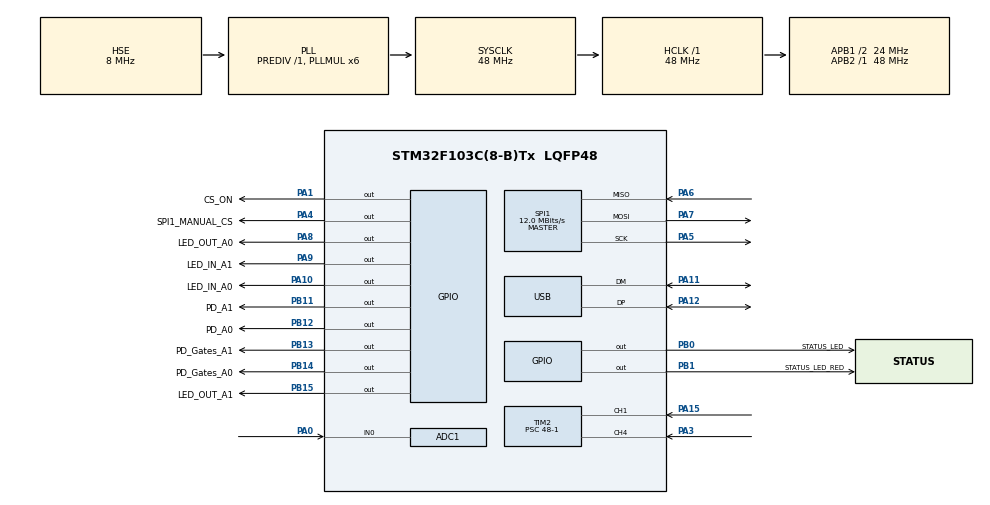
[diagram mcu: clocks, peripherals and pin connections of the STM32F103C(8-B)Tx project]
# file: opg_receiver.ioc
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Mcu.Family=STM32F1
NVIC.ADC1_2_IRQn=true\:0\:0\:false\:false\:true\:true\:true
PA6.Mode=Full_Duplex_Master
USB_DEVICE.CLASS_NAME_FS=CDC
TIM2.Channel-Input_Capture1_from_TI1=TIM_CHANNEL_1
SPI1.VirtualType=VM_MASTER
PB14.GPIO_Label=PD_Gates_A0
PA11.Mode=Device
PB0.GPIO_Label=STATUS_LED
PB13.GPIO_Label=PD_Gates_A1
PB11.Signal=GPIO_Output
PB13.Signal=GPIO_Output
PB15.Signal=GPIO_Output
RCC.SYSCLKSource=RCC_SYSCLKSOURCE_PLLCLK
ProjectManager.StackSize=0x400
PD1-OSC_OUT.Signal=RCC_OSC_OUT
PA12.Signal=USB_DP
TIM2.ICPolarity_CH1=TIM_INPUTCHANNELPOLARITY_FALLING
SPI1.Direction=SPI_DIRECTION_2LINES
RCC.HCLKFreq_Value=48000000
RCC.APB2TimFreq_Value=48000000
TIM3.Period=10000
SPI1.CalculateBaudRate=12.0 MBits/s
RCC.AHBFreq_Value=48000000
PB3.Mode=Trace_Asynchronous_SW
RCC.PLLMUL=RCC_PLL_MUL6
PB12.GPIO_Label=PD_A0
PA14.Mode=Trace_Asynchronous_SW
TIM3.Prescaler=48-1
PB1.GPIO_Label=STATUS_LED_RED
NVIC.TIM2_IRQn=true\:0\:0\:false\:false\:true\:true\:true
PA10.GPIO_Label=LED_IN_A0
PA8.Signal=GPIO_Output
SH.ADCx_IN0.0=ADC1_IN0,IN0
Mcu.Package=LQFP48
TIM2.Prescaler=48-1
PB1.Signal=GPIO_Output
PA6.Signal=SPI1_MISO
PA10.Signal=GPIO_Output
PA15.Signal=S_TIM2_CH1_ETR
RCC.APB1TimFreq_Value=48000000
SPI1.BaudRatePrescaler=SPI_BAUDRATEPRESCALER_4
PA4.GPIO_Label=SPI1_MANUAL_CS
VP_TIM3_VS_ClockSourceINT.Mode=Internal
PA3.Signal=S_TIM2_CH4
PA5.Mode=Full_Duplex_Master
PA7.Mode=Full_Duplex_Master
PD1-OSC_OUT.Mode=HSE-External-Oscillator
TIM3.AutoReloadPreload=TIM_AUTORELOAD_PRELOAD_ENABLE
USB_DEVICE.VirtualModeFS=Cdc_FS
PA9.GPIO_Label=LED_IN_A1
PB11.GPIO_Label=PD_A1
PD0-OSC_IN.Signal=RCC_OSC_IN
RCC.APB1CLKDivider=RCC_HCLK_DIV2
PA0-WKUP.Signal=ADCx_IN0
ADC1.Channel-7\#ChannelRegularConversion=ADC_CHANNEL_0
RCC.ADCPresc=RCC_ADCPCLK2_DIV4
PA13.Signal=SYS_JTMS-SWDIO
PA8.GPIO_Label=LED_OUT_A0
ProjectManager.TargetToolchain=STM32CubeIDE
VP_USB_DEVICE_VS_USB_DEVICE_CDC_FS.Mode=CDC_FS
PA9.Signal=GPIO_Output
RCC.USBFreq_Value=48000000
PA1.Signal=GPIO_Output
PD0-OSC_IN.Mode=HSE-External-Oscillator
PB14.Signal=GPIO_Output
PA5.Signal=SPI1_SCK
board=custom
NVIC.TIM3_IRQn=true\:0\:0\:false\:false\:true\:true\:true
RCC.APB2Freq_Value=48000000
PB15.GPIO_Label=LED_OUT_A1
VP_TIM2_VS_ClockSourceINT.Mode=Internal
SPI1.Mode=SPI_MODE_MASTER
NVIC.USB_LP_CAN1_RX0_IRQn=true\:0\:0\:false\:false\:true\:false\:true
PA1.GPIO_Label=CS_ON
TIM2.Channel-Input_Capture4_from_TI4=TIM_CHANNEL_4
TIM2.Period=10000
PA13.Mode=Trace_Asynchronous_SW
Mcu.Name=STM32F103C(8-B)Tx
PB3.Signal=SYS_JTDO-TRACESWO
PA4.Signal=GPIO_Output
RCC.SYSCLKFreq_VALUE=48000000
ADC1.master=1
PA12.Mode=Device
PA11.Signal=USB_DM
SH.S_TIM2_CH1_ETR.0=TIM2_CH1,Input_Capture1_from_TI1
PA14.Signal=SYS_JTCK-SWCLK
ProjectManager.HeapSize=0x200
SH.S_TIM2_CH4.0=TIM2_CH4,Input_Capture4_from_TI4
ADC1.Rank-7\#ChannelRegularConversion=1
NVIC.PriorityGroup=NVIC_PRIORITYGROUP_4
ADC1.NbrOfConversionFlag=1
ADC1.SamplingTime-7\#ChannelRegularConversion=ADC_SAMPLETIME_1CYCLE_5
RCC.APB1Freq_Value=24000000
PB0.Signal=GPIO_Output
USB_DEVICE.VirtualMode=Cdc
PB12.Signal=GPIO_Output
PA7.Signal=SPI1_MOSI

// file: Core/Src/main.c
/* USER CODE BEGIN Header */
/**
  ******************************************************************************
  * @file           : main.c
  * @brief          : Main program body
  ******************************************************************************
  * @attention
  *
  * <h2><center>&copy; Copyright (c) 2021 STMicroelectronics.
  * All rights reserved.</center></h2>
  *
  * This software component is licensed by ST under BSD 3-Clause license,
  * the "License"; You may not use this file except in compliance with the
  * License. You may obtain a copy of the License at:
  *                        opensource.org/licenses/BSD-3-Clause
  *
  ******************************************************************************
  */
/* USER CODE END Header */
#include "main.h"
#include "usb_device.h"

/* USER CODE BEGIN Includes */
#include "usbd_cdc_if.h"
#include "constants.h"
#include "current_source.h"
#include "ads8671.h"
#include "frame_encoding.h"
#include "sensor.h"
#include "math.h"
/* USER CODE END Includes */

ADC_HandleTypeDef hadc1;

SPI_HandleTypeDef hspi1;

TIM_HandleTypeDef htim2;
TIM_HandleTypeDef htim3;

/* USER CODE BEGIN PV */
HAL_StatusTypeDef status = HAL_OK;

// ++++++++ Measurement global variables ++++++++++++
uint32_t frame_number = 0; // keep track of frames.
uint8_t red_led_status = 0;
uint8_t do_crosstalk_recalculation = 0;
uint8_t reset_crosstalk_values = 0;
uint8_t crosstalk_fsm_counter = 0;
int16_t crosstalk_values[NUM_SENSORS] = {0};
int16_t crosstalk_offset = 0;

enum State{
	ST_IDLE,
	ST_MEASURE,
	ST_TRANSMIT,
	ST_ERROR
};

static enum State state = ST_IDLE;

/* USER CODE END PV */

void SystemClock_Config(void);
static void MX_GPIO_Init(void);
static void MX_ADC1_Init(void);
static void MX_SPI1_Init(void);
static void MX_TIM2_Init(void);
static void MX_TIM3_Init(void);

int main(void)
{
  /* USER CODE BEGIN 1 */
  // Measurement variables.
  int16_t sensor_values[NUM_SENSORS] = {0};
  int16_t sensor_values_tx[NUM_SENSORS] = {0};
  int16_t offset_values[NUM_SENSORS] = {0};

  uint8_t frame_buffer[FRAME_BUFFER_LENGTH_BYTES] = {0};
  frame_buffer[0] = START_BYTE_0; // Initialize here b.c. these never change.
  frame_buffer[1] = START_BYTE_1; // -"-

  // Timer variables.
  uint32_t PRESC_VALUE = TIM3_PERIPHERAL_CLOCK_FREQ_HZ/(MEASURING_FREQUENCY_HZ*ARR_VALUE) - 1;
  uint32_t PRESC_VALUE_BUTTON_CAPTURE = TIM3_PERIPHERAL_CLOCK_FREQ_HZ/(BUTTON_CAPTURE_MIN_FREQ_HZ*ARR_VALUE) - 1;

  if(PRESC_VALUE >= 65535)
  {
	  GPIOB->BSRR = STATUS_LED_RED_B_HIGH;
  }

  if(PRESC_VALUE_BUTTON_CAPTURE >= 65535)
  {
	  GPIOB->BSRR = STATUS_LED_RED_B_HIGH;
  }

  // ADC1 & current source variables.
  uint16_t current_lsb = 0;

  /* USER CODE END 1 */

  /* MCU Configuration--------------------------------------------------------*/

  /* Reset of all peripherals, Initializes the Flash interface and the Systick. */
  HAL_Init();

  /* Configure the system clock */
  SystemClock_Config();

  /* Initialize all configured peripherals */
  MX_GPIO_Init();
  MX_ADC1_Init();
  MX_USB_DEVICE_Init();
  MX_SPI1_Init();
  MX_TIM2_Init();
  MX_TIM3_Init();
  /* USER CODE BEGIN 2 */

	// ***********************************************
	// ************** Initializations *****************
	// ***********************************************

  // ++++++++++++++++ Configure the timer. ++++++++++++++++++
  // Set the measuring frequency. f_meas = f_apb1/((PSC+1)*ARR)
    TIM3->PSC = (uint16_t)PRESC_VALUE;
    TIM3->ARR = (uint16_t)ARR_VALUE;
    // TIM3->CCR1 = (uint16_t)ARR_VALUE;
	TIM3->DIER |= TIM_DIER_UIE; // Enable interrupt generation when CNT = ARR.

	  // SPI SETUP
	  // Enable interrupts when transmission or reception is completed and rx buffer is not empty
	  // or the transmit buffer is empty.
	  SPI1->CR2 |= SPI_CR2_RXNEIE;
	  SPI1->CR2 |= SPI_CR2_TXEIE;
	  SPI1->CR1 |= SPI_CR1_SPE;

	// ++++++++++++++++ ADC SETUP ++++++++++++++++
    // TODO: PUT INTO OWN FUNCTION.

    // Enable end of conversion (EOC) interrupts.
  	ADC1->CR1 |= ADC_CR1_EOCIE;
  	NVIC_EnableIRQ(ADC1_2_IRQn); // TODO: NECESSARY?

  	// Set the trigger as software trigger (page 241).
  	ADC1->CR2 |= (ADC_CR2_EXTSEL_2 & ADC_CR2_EXTSEL_1 & ADC_CR2_EXTSEL_0);

	// Wake up the ADC from any power-down mode.
	ADC1->CR2 |= ADC_CR2_ADON;
	HAL_Delay(1);

	// Turn the ADC on a second time (TODO: NECESSARY?).
	ADC1->CR2 |= ADC_CR2_ADON;

	// Calibrate the ADC.
	ADC1->CR2 |= ADC_CR2_CAL; // set calibration start bit
	while(ADC1->CR2 & ADC_CR2_CAL)
	{
		asm("NOP"); // Wait for the calibration to finish. ADC_CR2_CAL flips back to 0.
	}

	// ***********************************************
	// *********** Initialization tests ***************
	// ***********************************************

  // +++++ Test the current source and emitter +++++++

  // ++++++ Read out the current through each emitter. ++++++
  int failing_sensor_index = check_sensor_currents();
  if(failing_sensor_index > 0)
  {
	  state = ST_ERROR;
  }

  // TODO: Blink STATUS_LED if any of the emitter is out of range [2, XXX] mA.

  // ++++++ Test the STATUS_LED once ++++++++++++++++++++++++
  GPIOB->BSRR = STATUS_LED_B_HIGH;
  HAL_Delay(1000);
  GPIOB->BSRR = STATUS_LED_B_LOW;

  // +++++++++++++++++ Test the ADC +++++++++++++++++++++++++
  // Toggle the CS Line high initially.
  GPIOA->BSRR = SPI_CS_HIGH;

  uint32_t data_word = 0;

  // Change the device id for testing.
  spi_tx_word(WRITE_ID_TO_DEVICE);
  spi_tx_word(READ_ID_FROM_DEVICE);
  data_word = spi_rx_word();

    uint8_t return_reg_value = data_word >> 24; // spi_rx_buffer[0];
  // return_reg_value = spi_rx_buffer[0];
  if(return_reg_value != 0x05)
  {
	  GPIOA->BSRR = STATUS_LED_B_HIGH;
  }

  // Change the range select register to a range of 0 to 3xVref.
  spi_tx_word(WRITE_RANGE_SELECTION);
  // Check, by reading back the register value.
  spi_tx_word(READ_RANGE_SEL_REG);
  data_word = spi_rx_word();

  return_reg_value = data_word >> 24; // spi_rx_buffer[0];
  if(return_reg_value != 0x08)
  {
	  GPIOA->BSRR = STATUS_LED_B_HIGH;
  }

  // Calibrate the sensors before starting the timer by calculating the cross-talk.
  // Cross-talk is fixed by the detector/emitter orientation and position on the pcb.
  // Note: changing the emitter current required recalculation.
  /*
  GPIOB->BSRR = STATUS_LED_RED_B_HIGH;
  calculate_crosstalk(crosstalk_values); // should take around 30 ms.
  GPIOB->BSRR = STATUS_LED_RED_B_LOW;
  */

  // Start the state machine.
  TIM3->CR1 |= TIM_CR1_CEN; // Start the timer.
  // Start the button capture timer 2.
  HAL_TIM_IC_Start_IT(&htim2, TIM_CHANNEL_1);
  TIM2->CR1 |= TIM_CR1_CEN; // Start the timer.

  /* USER CODE END 2 */

  /* Infinite loop */
  /* USER CODE BEGIN WHILE */
  while (1)
  {
	  switch(state)
	  {
	  case ST_IDLE:
		  asm("NOP");
		  break;

	  case ST_MEASURE: ;

		  // Check first, if a crosstalk recalculation is scheduled.
		  if(do_crosstalk_recalculation)
		  {
			  GPIOB->BSRR = STATUS_LED_RED_B_HIGH;
			  calculate_crosstalk(crosstalk_values); // should take around 30 ms.
			  GPIOB->BSRR = STATUS_LED_RED_B_LOW;
			  do_crosstalk_recalculation = 0;
		  }

		  // On every second button press, reset the crosstalk values.
		  if(reset_crosstalk_values)
		  {
			  GPIOB->BSRR = STATUS_LED_RED_B_HIGH;
			  for(int i = 0; i < NUM_SENSORS; i++)
			  {
				  crosstalk_values[i] = 0;
			  }
			  GPIOB->BSRR = STATUS_LED_RED_B_LOW;
			  reset_crosstalk_values = 0;
		  }

		  // Do OFFSET calculation prior to sensing until the current source can
		  // be enabled without zeroing out the PD response for a short time.

		  current_lsb = measure_sensors(offset_values, NUM_MEASUREMENTS_PER_SENSOR_DC_OFFSET);

		  // Read out the sensor values with the current source turned on.
		  GPIOA->BSRR = CURRENT_SOURCE_A_ON;
		  current_lsb = measure_sensors(sensor_values, NUM_MEASUREMENTS_PER_SENSOR);
		  // Measure the emitter current once for transmit before turning it off.

		  // current_lsb = get_emitter_current_lsb();
		  GPIOA->BSRR = CURRENT_SOURCE_A_OFF;

		  // Calculate the PD value-dependent small deviation in the crosstalk value.
		  uint32_t mean_offset_value = 0;
		  for(int sensor_index = 0; sensor_index < NUM_SENSORS; sensor_index++)
		  {
			  mean_offset_value += offset_values[sensor_index];
		  }
		  mean_offset_value = mean_offset_value/NUM_SENSORS;

		  // int16_t crosstalk_offset = 50 - (int16_t)(log((double)mean_offset_value/0.5189)/0.2027);
		  crosstalk_offset = 0; // TODO: crosstalk_offset is not yet compatible with single optode board

		  // Calculate the final sensor values (minus DC offset and cross-talk).
		  for(int sensor_index = 0; sensor_index < NUM_SENSORS; sensor_index++)
		  {
			  sensor_values_tx[sensor_index] = sensor_values[sensor_index]
											 - offset_values[sensor_index]
											 - crosstalk_values[sensor_index]
											 + crosstalk_offset;
		  }

		  state = ST_TRANSMIT;

	  case ST_TRANSMIT: ; // https://www.educative.io/edpresso/resolving-the-a-label-can-only-be-part-of-a-statement-error
		  // Construct the frame.
		  // (ADC module range register value) TODO IF NEEDED.

	  	  uint32_t byte_index = NUM_START_BYTES;

	  	  // **** Fill the frame buffer, all MSB first. ************
		  // 2 Alignment bits (already done).

	  	  // 32 bit frame buffer first.
	  	  frame_buffer[byte_index++] = frame_number >> 24;
	  	  frame_buffer[byte_index++] = frame_number >> 16;
	  	  frame_buffer[byte_index++] = frame_number >> 8;
	  	  frame_buffer[byte_index++] = frame_number;

	  	  // 16 bit emitter current as lsb value.
	  	  frame_buffer[byte_index++] = current_lsb >> 8;
	  	  frame_buffer[byte_index++] = current_lsb;

	  	  // 16 bits for every sensor value.
		  for(int sensor_index = 0; sensor_index < NUM_SENSORS; sensor_index++)
		  {
			  // Transmit MSB first.
			  frame_buffer[byte_index++] = sensor_values_tx[sensor_index] >> 8;
			  frame_buffer[byte_index++] = sensor_values_tx[sensor_index];
		  }

		  // ****************************************

		  uint32_t start_index = NUM_START_BYTES; // FOR DEBUGGING, MUST BE 2.
		  uint32_t stop_index = byte_index;       // FOR DEBUGGING, MUST BE FRAME_BUFFER_LENGTH_BYTES - 1
		  // Checksum.
		  uint8_t checksum = calculate_checksum(frame_buffer, start_index, stop_index);
		  frame_buffer[byte_index] = checksum;
		  status = CDC_Transmit_FS((uint8_t*)frame_buffer, FRAME_BUFFER_LENGTH_BYTES);
		  state = ST_IDLE;
		  break;

	  case ST_ERROR:
		  // Current out of range.
		  // Etc.
		  // Either check again here if error is lifted or never leave until reset.
		  // Currently, TIM3 will automatically toggle ST_MEASURE again.
		  break;
	  }
    /* USER CODE END WHILE */

  }
}

void SystemClock_Config(void)
{
  RCC_OscInitTypeDef RCC_OscInitStruct = {0};
  RCC_ClkInitTypeDef RCC_ClkInitStruct = {0};
  RCC_PeriphCLKInitTypeDef PeriphClkInit = {0};

  /** Initializes the RCC Oscillators according to the specified parameters
  * in the RCC_OscInitTypeDef structure.
  */
  RCC_OscInitStruct.OscillatorType = RCC_OSCILLATORTYPE_HSE;
  RCC_OscInitStruct.HSEState = RCC_HSE_ON;
  RCC_OscInitStruct.HSEPredivValue = RCC_HSE_PREDIV_DIV1;
  RCC_OscInitStruct.HSIState = RCC_HSI_ON;
  RCC_OscInitStruct.PLL.PLLState = RCC_PLL_ON;
  RCC_OscInitStruct.PLL.PLLSource = RCC_PLLSOURCE_HSE;
  RCC_OscInitStruct.PLL.PLLMUL = RCC_PLL_MUL6;
  if (HAL_RCC_OscConfig(&RCC_OscInitStruct) != HAL_OK)
  {
    Error_Handler();
  }
  /** Initializes the CPU, AHB and APB buses clocks
  */
  RCC_ClkInitStruct.ClockType = RCC_CLOCKTYPE_HCLK|RCC_CLOCKTYPE_SYSCLK
                              |RCC_CLOCKTYPE_PCLK1|RCC_CLOCKTYPE_PCLK2;
  RCC_ClkInitStruct.SYSCLKSource = RCC_SYSCLKSOURCE_PLLCLK;
  RCC_ClkInitStruct.AHBCLKDivider = RCC_SYSCLK_DIV1;
  RCC_ClkInitStruct.APB1CLKDivider = RCC_HCLK_DIV2;
  RCC_ClkInitStruct.APB2CLKDivider = RCC_HCLK_DIV1;

  if (HAL_RCC_ClockConfig(&RCC_ClkInitStruct, FLASH_LATENCY_1) != HAL_OK)
  {
    Error_Handler();
  }
  PeriphClkInit.PeriphClockSelection = RCC_PERIPHCLK_ADC|RCC_PERIPHCLK_USB;
  PeriphClkInit.AdcClockSelection = RCC_ADCPCLK2_DIV4;
  PeriphClkInit.UsbClockSelection = RCC_USBCLKSOURCE_PLL;
  if (HAL_RCCEx_PeriphCLKConfig(&PeriphClkInit) != HAL_OK)
  {
    Error_Handler();
  }
}

static void MX_ADC1_Init(void)
{

  ADC_ChannelConfTypeDef sConfig = {0};

  /** Common config
  */
  hadc1.Instance = ADC1;
  hadc1.Init.ScanConvMode = ADC_SCAN_DISABLE;
  hadc1.Init.ContinuousConvMode = DISABLE;
  hadc1.Init.DiscontinuousConvMode = DISABLE;
  hadc1.Init.ExternalTrigConv = ADC_SOFTWARE_START;
  hadc1.Init.DataAlign = ADC_DATAALIGN_RIGHT;
  hadc1.Init.NbrOfConversion = 1;
  if (HAL_ADC_Init(&hadc1) != HAL_OK)
  {
    Error_Handler();
  }
  /** Configure Regular Channel
  */
  sConfig.Channel = ADC_CHANNEL_0;
  sConfig.Rank = ADC_REGULAR_RANK_1;
  sConfig.SamplingTime = ADC_SAMPLETIME_1CYCLE_5;
  if (HAL_ADC_ConfigChannel(&hadc1, &sConfig) != HAL_OK)
  {
    Error_Handler();
  }

}

static void MX_SPI1_Init(void)
{

  /* SPI1 parameter configuration*/
  hspi1.Instance = SPI1;
  hspi1.Init.Mode = SPI_MODE_MASTER;
  hspi1.Init.Direction = SPI_DIRECTION_2LINES;
  hspi1.Init.DataSize = SPI_DATASIZE_8BIT;
  hspi1.Init.CLKPolarity = SPI_POLARITY_LOW;
  hspi1.Init.CLKPhase = SPI_PHASE_1EDGE;
  hspi1.Init.NSS = SPI_NSS_SOFT;
  hspi1.Init.BaudRatePrescaler = SPI_BAUDRATEPRESCALER_4;
  hspi1.Init.FirstBit = SPI_FIRSTBIT_MSB;
  hspi1.Init.TIMode = SPI_TIMODE_DISABLE;
  hspi1.Init.CRCCalculation = SPI_CRCCALCULATION_DISABLE;
  hspi1.Init.CRCPolynomial = 10;
  if (HAL_SPI_Init(&hspi1) != HAL_OK)
  {
    Error_Handler();
  }

}

static void MX_TIM2_Init(void)
{

  TIM_ClockConfigTypeDef sClockSourceConfig = {0};
  TIM_MasterConfigTypeDef sMasterConfig = {0};
  TIM_IC_InitTypeDef sConfigIC = {0};

  htim2.Instance = TIM2;
  htim2.Init.Prescaler = 48-1;
  htim2.Init.CounterMode = TIM_COUNTERMODE_UP;
  htim2.Init.Period = 10000;
  htim2.Init.ClockDivision = TIM_CLOCKDIVISION_DIV1;
  htim2.Init.AutoReloadPreload = TIM_AUTORELOAD_PRELOAD_DISABLE;
  if (HAL_TIM_Base_Init(&htim2) != HAL_OK)
  {
    Error_Handler();
  }
  sClockSourceConfig.ClockSource = TIM_CLOCKSOURCE_INTERNAL;
  if (HAL_TIM_ConfigClockSource(&htim2, &sClockSourceConfig) != HAL_OK)
  {
    Error_Handler();
  }
  if (HAL_TIM_IC_Init(&htim2) != HAL_OK)
  {
    Error_Handler();
  }
  sMasterConfig.MasterOutputTrigger = TIM_TRGO_RESET;
  sMasterConfig.MasterSlaveMode = TIM_MASTERSLAVEMODE_DISABLE;
  if (HAL_TIMEx_MasterConfigSynchronization(&htim2, &sMasterConfig) != HAL_OK)
  {
    Error_Handler();
  }
  sConfigIC.ICPolarity = TIM_INPUTCHANNELPOLARITY_FALLING;
  sConfigIC.ICSelection = TIM_ICSELECTION_DIRECTTI;
  sConfigIC.ICPrescaler = TIM_ICPSC_DIV1;
  sConfigIC.ICFilter = 0;
  if (HAL_TIM_IC_ConfigChannel(&htim2, &sConfigIC, TIM_CHANNEL_1) != HAL_OK)
  {
    Error_Handler();
  }
  sConfigIC.ICPolarity = TIM_INPUTCHANNELPOLARITY_RISING;
  if (HAL_TIM_IC_ConfigChannel(&htim2, &sConfigIC, TIM_CHANNEL_4) != HAL_OK)
  {
    Error_Handler();
  }

}

static void MX_TIM3_Init(void)
{

  TIM_ClockConfigTypeDef sClockSourceConfig = {0};
  TIM_MasterConfigTypeDef sMasterConfig = {0};

  htim3.Instance = TIM3;
  htim3.Init.Prescaler = 48-1;
  htim3.Init.CounterMode = TIM_COUNTERMODE_UP;
  htim3.Init.Period = 10000;
  htim3.Init.ClockDivision = TIM_CLOCKDIVISION_DIV1;
  htim3.Init.AutoReloadPreload = TIM_AUTORELOAD_PRELOAD_ENABLE;
  if (HAL_TIM_Base_Init(&htim3) != HAL_OK)
  {
    Error_Handler();
  }
  sClockSourceConfig.ClockSource = TIM_CLOCKSOURCE_INTERNAL;
  if (HAL_TIM_ConfigClockSource(&htim3, &sClockSourceConfig) != HAL_OK)
  {
    Error_Handler();
  }
  sMasterConfig.MasterOutputTrigger = TIM_TRGO_RESET;
  sMasterConfig.MasterSlaveMode = TIM_MASTERSLAVEMODE_DISABLE;
  if (HAL_TIMEx_MasterConfigSynchronization(&htim3, &sMasterConfig) != HAL_OK)
  {
    Error_Handler();
  }

}

static void MX_GPIO_Init(void)
{
  GPIO_InitTypeDef GPIO_InitStruct = {0};

  /* GPIO Ports Clock Enable */
  __HAL_RCC_GPIOD_CLK_ENABLE();
  __HAL_RCC_GPIOA_CLK_ENABLE();
  __HAL_RCC_GPIOB_CLK_ENABLE();

  /*Configure GPIO pin Output Level */
  HAL_GPIO_WritePin(GPIOA, CS_ON_Pin|SPI1_MANUAL_CS_Pin|LED_OUT_A0_Pin|LED_IN_A1_Pin
                          |LED_IN_A0_Pin, GPIO_PIN_RESET);

  /*Configure GPIO pin Output Level */
  HAL_GPIO_WritePin(GPIOB, STATUS_LED_Pin|STATUS_LED_RED_Pin|PD_A1_Pin|PD_A0_Pin
                          |PD_Gates_A1_Pin|PD_Gates_A0_Pin|LED_OUT_A1_Pin, GPIO_PIN_RESET);

  /*Configure GPIO pins : CS_ON_Pin SPI1_MANUAL_CS_Pin LED_OUT_A0_Pin LED_IN_A1_Pin
                           LED_IN_A0_Pin */
  GPIO_InitStruct.Pin = CS_ON_Pin|SPI1_MANUAL_CS_Pin|LED_OUT_A0_Pin|LED_IN_A1_Pin
                          |LED_IN_A0_Pin;
  GPIO_InitStruct.Mode = GPIO_MODE_OUTPUT_PP;
  GPIO_InitStruct.Pull = GPIO_NOPULL;
  GPIO_InitStruct.Speed = GPIO_SPEED_FREQ_LOW;
  HAL_GPIO_Init(GPIOA, &GPIO_InitStruct);

  /*Configure GPIO pins : STATUS_LED_Pin STATUS_LED_RED_Pin PD_A1_Pin PD_A0_Pin
                           PD_Gates_A1_Pin PD_Gates_A0_Pin LED_OUT_A1_Pin */
  GPIO_InitStruct.Pin = STATUS_LED_Pin|STATUS_LED_RED_Pin|PD_A1_Pin|PD_A0_Pin
                          |PD_Gates_A1_Pin|PD_Gates_A0_Pin|LED_OUT_A1_Pin;
  GPIO_InitStruct.Mode = GPIO_MODE_OUTPUT_PP;
  GPIO_InitStruct.Pull = GPIO_NOPULL;
  GPIO_InitStruct.Speed = GPIO_SPEED_FREQ_LOW;
  HAL_GPIO_Init(GPIOB, &GPIO_InitStruct);

}

/* USER CODE BEGIN 4 */

void HAL_TIM_PeriodElapsedCallback(TIM_HandleTypeDef *htim)
{
	// Update the frame number and go to measure state.
	if(htim->Instance == TIM3)
	{
		frame_number++;
		// Blink to status led each time for checking purposes.
		if(frame_number%2 == 0)
		{
			GPIOB->BSRR = STATUS_LED_B_HIGH;
		}else
		{
			GPIOB->BSRR = STATUS_LED_B_LOW;
		}
		state = ST_MEASURE;
	}
}

void HAL_TIM_IC_CaptureCallback(TIM_HandleTypeDef *htim)
{
	if(htim->Instance == TIM2 && htim->Channel == HAL_TIM_ACTIVE_CHANNEL_1)
	{
	  crosstalk_fsm_counter++;
	  // Select action based on counter value.
	  if(crosstalk_fsm_counter == 1)
	  {
		  do_crosstalk_recalculation = 1;
	  }
	  if(crosstalk_fsm_counter == 2)
	  {
		  reset_crosstalk_values = 1;
	  }
	  // Only increment for [0,1,2].
	  if(crosstalk_fsm_counter >= 2)
	  {
		  crosstalk_fsm_counter = 0;
	  }
	}
}

/* USER CODE END 4 */

void Error_Handler(void)
{
  __disable_irq();
  while (1)
  {
  }
}

/************************ (C) COPYRIGHT STMicroelectronics *****END OF FILE****/
